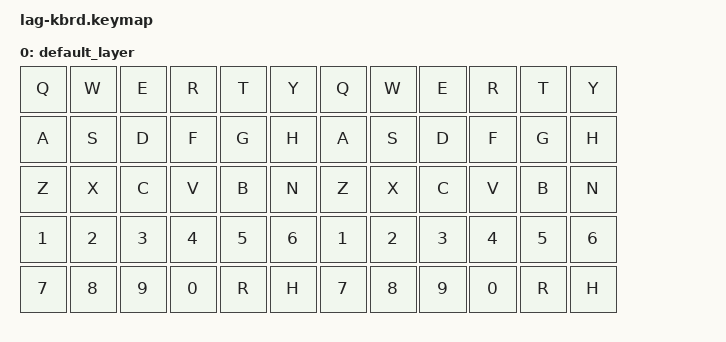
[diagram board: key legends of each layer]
#include <behaviors.dtsi>
#include <dt-bindings/zmk/keys.h>

/ {
    keymap {
        compatible = "zmk,keymap";

        default_layer {
            bindings = <
                &kp Q  &kp W  &kp E  &kp R  &kp T  &kp Y &kp Q  &kp W  &kp E  &kp R  &kp T  &kp Y
                &kp A  &kp S  &kp D  &kp F  &kp G  &kp H &kp A  &kp S  &kp D  &kp F  &kp G  &kp H
                &kp Z  &kp X  &kp C  &kp V  &kp B  &kp N &kp Z  &kp X  &kp C  &kp V  &kp B  &kp N
                &kp N1  &kp N2  &kp N3  &kp N4  &kp N5  &kp N6 &kp N1  &kp N2  &kp N3  &kp N4  &kp N5  &kp N6
                &kp N7  &kp N8  &kp N9  &kp N0  &kp R  &kp H &kp N7  &kp N8  &kp N9  &kp N0  &kp R  &kp H
            >;
        };
    };
};
